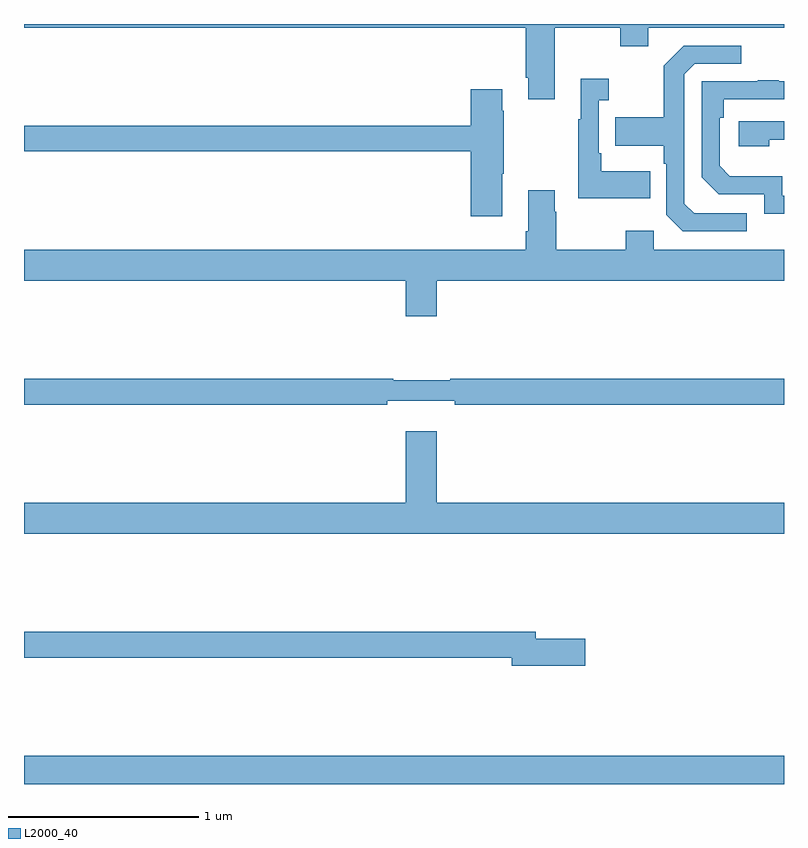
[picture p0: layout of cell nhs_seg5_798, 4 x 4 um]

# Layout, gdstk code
import gdstk
lib = gdstk.Library(unit=1e-6, precision=1e-09)
def R(c, l, rs):  # rectangles x0, y0, x1, y1
    for r in rs: c.add(gdstk.rectangle(r[:2], r[2:], *l))
def P(c, l, *ps):  # polygons
    for p in ps: c.add(gdstk.Polygon(p, *l))
L2000_40 = (2000, 40)

nhs_seg5_798 = lib.new_cell('nhs_seg5_798')
R(nhs_seg5_798, L2000_40, [(163,832.799,167,832.948)])
P(nhs_seg5_798, L2000_40, [(165.793,836.78),(166.138,836.78),(166.138,836.681),(166.285,836.681),(166.285,836.78),(167,836.78),(167,836.799),(163,836.799),(163,836.78),(165.641,836.78),(165.641,836.515),(165.653,836.515),(165.653,836.403),(165.793,836.403)],
  [(166.804,835.803),(166.527,835.803),(166.476,835.854),(166.476,836.535),(166.53,836.589),(166.774,836.589),(166.774,836.685),(166.473,836.685),(166.368,836.579),(166.368,836.307),(166.111,836.307),(166.111,836.159),(166.368,836.159),(166.368,836.063),(166.38,836.063),(166.38,835.794),(166.467,835.707),(166.804,835.707)],
  [(166.295,836.023),(166.039,836.023),(166.039,836.119),(166.026,836.119),(166.026,836.399),(166.078,836.399),(166.078,836.512),(165.929,836.512),(165.929,836.299),(165.918,836.299),(165.918,835.883),(166.295,835.883)],
  [(167,835.896),(166.992,835.896),(166.992,835.999),(166.715,835.999),(166.662,836.052),(166.662,836.306),(166.682,836.306),(166.682,836.403),(167,836.403),(167,836.499),(166.973,836.499),(166.973,836.504),(166.861,836.504),(166.861,836.499),(166.566,836.499),(166.566,835.992),(166.656,835.902),(166.896,835.902),(166.896,835.8),(167,835.8)],
  [(165.517,836.011),(165.525,836.011),(165.525,836.342),(165.517,836.342),(165.517,836.455),(165.35,836.455),(165.35,836.264),(163,836.264),(163,836.128),(165.35,836.128),(165.35,835.788),(165.517,835.788)],
  [(166.922,836.19),(167,836.19),(167,836.286),(166.761,836.286),(166.761,836.156),(166.922,836.156)],
  [(165.172,835.448),(167,835.448),(167,835.612),(166.314,835.612),(166.314,835.711),(166.168,835.711),(166.168,835.612),(165.801,835.612),(165.801,835.811),(165.793,835.811),(165.793,835.924),(165.653,835.924),(165.653,835.708),(165.641,835.708),(165.641,835.612),(163,835.612),(163,835.448),(165.008,835.448),(165.008,835.26),(165.172,835.26)],
  [(164.912,834.815),(165.268,834.815),(165.268,834.796),(167,834.796),(167,834.932),(165.244,834.932),(165.244,834.925),(164.944,834.925),(164.944,834.932),(163,834.932),(163,834.796),(164.912,834.796)],
  [(167,834.28),(165.172,834.28),(165.172,834.655),(165.008,834.655),(165.008,834.28),(163,834.28),(163,834.116),(167,834.116)],
  [(165.955,833.564),(165.694,833.564),(165.694,833.6),(163,833.6),(163,833.464),(165.566,833.464),(165.566,833.422),(165.955,833.422)])

lib.write_gds('nhs_seg5_798.gds')
